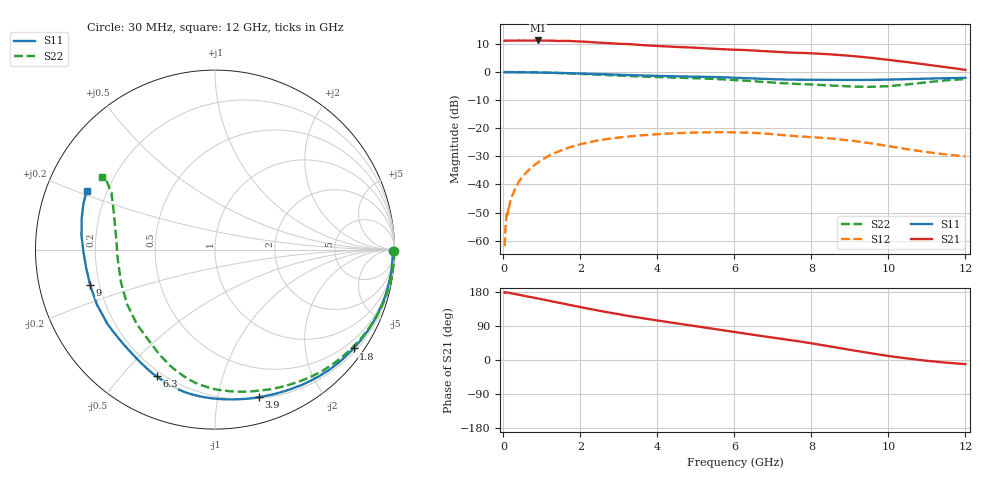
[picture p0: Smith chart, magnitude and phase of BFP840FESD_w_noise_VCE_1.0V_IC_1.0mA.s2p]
! Infineon Technologies  Discrete & RF Semiconductors
! BFP840FESD
! VCE =  1.0 V,  IC =  1.0 mA
! Common Emitter S-Parameters:  May 2012
# GHz  S  MA  R  50
!  f  S11  S21  S12  S22
! GHz  MAG  ANG  MAG  ANG  MAG  ANG  MAG  ANG
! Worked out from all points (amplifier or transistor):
!   103 points, 30 MHz to 12 GHz, reference 50 ohm
!   highest |S21| = 11.2 dB at 900 MHz (marker M1)
!   |S21| within 3 dB of that: start of sweep to 5.532 GHz
!   unconditionally stable (mu >= 1): 8.68 GHz to end of sweep
!   at 400 MHz: K = -0.01, MSG = 25.1 dB, |S12| = -38.9 dB
!   at 3.7 GHz: K = 0.19, MSG = 15.9 dB, |S12| = -22.4 dB
!   at 12 GHz: K = 1.97, MAG = 9.8 dB, |S12| = -30.0 dB
!   lowest NFmin = 0.57 dB at 450 MHz
!   S11 on the Smith chart (normalised r, x): 30 MHz: open; 1.8 GHz: 0.28, -3.10; 3.9 GHz: 0.21, -1.32; 6.3 GHz: 0.18, -0.63; 9 GHz: 0.16, -0.14; 12 GHz: 0.13, +0.22
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0.03  0.9907 -0.6  3.608 177.7  0.0008 88.0  0.999 -0.6
0.05  0.9902 -1.0  3.583 178.9  0.0016 80.1  1 -1.0
0.08  0.9904 -1.6  3.604 178.3  0.0029 74.7  0.9988 -1.5
0.11  0.9908 -2.2  3.62 177.8  0.0029 90.1  0.9988 -2.2
0.13  0.9908 -2.6  3.628 177.5  0.004 90.1  0.999 -2.5
0.2  0.9899 -3.9  3.617 176.1  0.0057 89.4  0.9987 -3.9
0.4  0.9885 -7.9  3.637 172.2  0.0113 83.8  0.996 -7.9
0.9  0.9798 -17.7  3.641 162.2  0.0248 74.8  0.9826 -17.8
1.8  0.9484 -35.5  3.54 143.7  0.0475 58.2  0.938 -36.3
2.1  0.9361 -41.3  3.463 137.6  0.054 52.8  0.9204 -42.5
3.2  0.8848 -61.4  3.146 117.1  0.0709 34.7  0.8517 -63.4
3.9  0.857 -73.5  2.93 105.8  0.0776 25.2  0.8175 -75.0
4.1  0.8513 -77.1  2.878 102.8  0.079 22.7  0.8091 -78.0
4.9  0.8286 -91.3  2.723 90.7  0.0835 12.7  0.7786 -89.8
6.1  0.7868 -111.3  2.485 72.4  0.0844 -2.1  0.7133 -106.7
6.3  0.7775 -114.7  2.453 69.4  0.0836 -4.6  0.6995 -109.7
7.1  0.7415 -128.4  2.285 57.6  0.0773 -13.6  0.6428 -121.8
8.5  0.7257 -155.1  2.061 35.5  0.0658 -22.8  0.5767 -148.2
9  0.7232 -164.0  1.942 26.9  0.0606 -26.3  0.5546 -160.8
10  0.7329 -178.8  1.647 10.6  0.0481 -29.2  0.5593 171.1
10.5  0.748 173.9  1.497 3.9  0.0423 -27.6  0.603 159.4
12  0.7864 155.3  1.093 -10.8  0.0315 -10.3  0.7495 147.5
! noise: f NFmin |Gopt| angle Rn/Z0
0.45  0.57  0.78  7  0.51
0.9  0.66  0.77  14  0.5
1.5  0.78  0.72  22  0.45
1.9  0.84  0.68  29  0.43
2.4  0.91  0.66  37  0.43
3.5  0.99  0.63  56  0.39
5.5  1.2  0.52  89  0.28
8  1.7  0.46  149  0.18
10  1.98  0.47  -173  0.14
12  2.15  0.62  -141  0.18
